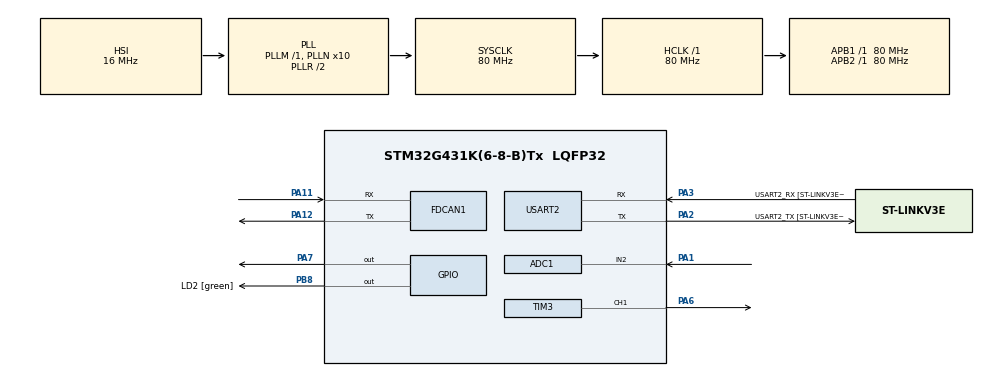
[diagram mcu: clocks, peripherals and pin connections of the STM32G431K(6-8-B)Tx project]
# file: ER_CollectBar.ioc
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ADC1.Channel-6\#ChannelRegularConversion=ADC_CHANNEL_2
ADC1.ContinuousConvMode=ENABLE
ADC1.DMAContinuousRequests=ENABLE
ADC1.NbrOfConversionFlag=1
ADC1.OffsetNumber-6\#ChannelRegularConversion=ADC_OFFSET_NONE
ADC1.Rank-6\#ChannelRegularConversion=1
ADC1.SamplingTime-6\#ChannelRegularConversion=ADC_SAMPLETIME_92CYCLES_5
ADC1.master=1
Dma.ADC1.0.Direction=DMA_PERIPH_TO_MEMORY
Dma.ADC1.0.EventEnable=DISABLE
Dma.ADC1.0.Instance=DMA1_Channel1
Dma.ADC1.0.MemDataAlignment=DMA_MDATAALIGN_HALFWORD
Dma.ADC1.0.MemInc=DMA_MINC_ENABLE
Dma.ADC1.0.Mode=DMA_CIRCULAR
Dma.ADC1.0.PeriphDataAlignment=DMA_PDATAALIGN_HALFWORD
Dma.ADC1.0.PeriphInc=DMA_PINC_DISABLE
Dma.ADC1.0.Polarity=HAL_DMAMUX_REQ_GEN_RISING
Dma.ADC1.0.Priority=DMA_PRIORITY_LOW
Dma.ADC1.0.RequestNumber=1
Dma.ADC1.0.SignalID=NONE
Dma.ADC1.0.SyncEnable=DISABLE
Dma.ADC1.0.SyncPolarity=HAL_DMAMUX_SYNC_NO_EVENT
Dma.ADC1.0.SyncRequestNumber=1
Dma.ADC1.0.SyncSignalID=NONE
Dma.Request0=ADC1
FDCAN1.CalculateBaudRateNominal=1000000
FDCAN1.CalculateTimeBitNominal=1000
FDCAN1.CalculateTimeQuantumNominal=62.5
FDCAN1.DataPrescaler=2
FDCAN1.DataSyncJumpWidth=2
FDCAN1.DataTimeSeg1=10
FDCAN1.DataTimeSeg2=9
FDCAN1.FrameFormat=FDCAN_FRAME_FD_BRS
FDCAN1.NominalPrescaler=5
FDCAN1.NominalSyncJumpWidth=2
FDCAN1.NominalTimeSeg1=13
FDCAN1.StdFiltersNbr=1
Mcu.Family=STM32G4
Mcu.Name=STM32G431K(6-8-B)Tx
Mcu.Package=LQFP32
NVIC.DMA1_Channel1_IRQn=true\:0\:0\:false\:false\:true\:false\:true\:true
NVIC.FDCAN1_IT0_IRQn=true\:0\:0\:false\:false\:true\:true\:true\:true
NVIC.PriorityGroup=NVIC_PRIORITYGROUP_4
NVIC.TIM1_TRG_COM_TIM17_IRQn=true\:15\:0\:false\:false\:true\:false\:true\:true
NVIC.TIM4_IRQn=true\:0\:0\:false\:false\:true\:true\:true\:true
NVIC.TimeBase=TIM1_TRG_COM_TIM17_IRQn
NVIC.TimeBaseIP=TIM17
NVIC.USART2_IRQn=true\:0\:0\:false\:false\:true\:true\:true\:true
PA1.Mode=IN2-Single-Ended
PA1.Signal=ADC1_IN2
PA11.Mode=FDCAN_Activate
PA11.Signal=FDCAN1_RX
PA12.Mode=FDCAN_Activate
PA12.Signal=FDCAN1_TX
PA13.GPIO_Label=T_SWDIO
PA13.Mode=Serial_Wire
PA13.Signal=SYS_JTMS-SWDIO
PA14.GPIO_Label=T_SWCLK
PA14.Mode=Serial_Wire
PA14.Signal=SYS_JTCK-SWCLK
PA2.GPIO_Label=USART2_TX [ST-LINKV3E_VCP_RX]
PA2.Mode=Asynchronous
PA2.Signal=USART2_TX
PA3.GPIO_Label=USART2_RX [ST-LINKV3E_VCP_TX]
PA3.Mode=Asynchronous
PA3.Signal=USART2_RX
PA6.Signal=S_TIM3_CH1
PA7.Signal=GPIO_Output
PB3.GPIO_Label=T_SWO
PB3.Signal=SYS_JTDO-SWO
PB8-BOOT0.GPIO_Label=LD2 [green]
PB8-BOOT0.Signal=GPIO_Output
ProjectManager.HeapSize=0x200
ProjectManager.StackSize=0x400
ProjectManager.TargetToolchain=STM32CubeIDE
RCC.ADC12Freq_Value=80000000
RCC.AHBFreq_Value=80000000
RCC.APB1Freq_Value=80000000
RCC.APB1TimFreq_Value=80000000
RCC.APB2Freq_Value=80000000
RCC.APB2TimFreq_Value=80000000
RCC.CortexFreq_Value=80000000
RCC.EXTERNAL_CLOCK_VALUE=12288000
RCC.HCLKFreq_Value=80000000
RCC.HSE_VALUE=8000000
RCC.HSI48_VALUE=48000000
RCC.HSI_VALUE=16000000
RCC.LSE_VALUE=32768
RCC.PLLN=10
RCC.SYSCLKFreq_VALUE=80000000
RCC.SYSCLKSource=RCC_SYSCLKSOURCE_PLLCLK
RCC.USBFreq_Value=80000000
RCC.VCOOutputFreq_Value=160000000
SH.S_TIM3_CH1.0=TIM3_CH1,PWM Generation1 CH1
TIM3.Channel-PWM\ Generation1\ CH1=TIM_CHANNEL_1
TIM3.PeriodNoDither=1000-1
TIM3.Prescaler=40-1
TIM4.PeriodNoDither=1000-1
TIM4.Prescaler=80-1
USART2.VirtualMode-Asynchronous=VM_ASYNC
USART2.WordLength=WORDLENGTH_8B
VP_SYS_VS_DBSignals.Mode=DisableDeadBatterySignals
VP_SYS_VS_tim17.Mode=TIM17
VP_TIM3_VS_ClockSourceINT.Mode=Internal
VP_TIM4_VS_ClockSourceINT.Mode=Internal
board=NUCLEO-G431KB

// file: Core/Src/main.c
/* USER CODE BEGIN Header */
/**
  ******************************************************************************
  * @file           : main.c
  * @brief          : Main program body
  ******************************************************************************
  * @attention
  *
  * <h2><center>&copy; Copyright (c) 2023 STMicroelectronics.
  * All rights reserved.</center></h2>
  *
  * This software component is licensed by ST under BSD 3-Clause license,
  * the "License"; You may not use this file except in compliance with the
  * License. You may obtain a copy of the License at:
  *                        opensource.org/licenses/BSD-3-Clause
  *
  ******************************************************************************
  */
/* USER CODE END Header */
#include "main.h"

/* USER CODE BEGIN Includes */
#include "stdio.h"
#include "stdlib.h"
/* USER CODE END Includes */

/* USER CODE BEGIN PTD */
typedef enum {
    OPEN = 0x0U,
    CLOSE
} BarState;
/* USER CODE END PTD */

/* USER CODE BEGIN PD */

#define FILTER_C 0.95f

#define ADC_CLOSE 1700.0f
#define ADC_OPEN 700.0f

#define DUTY 300

//ADC:PA1
//IN:PA6
//IN_:PA7

/* USER CODE END PD */

ADC_HandleTypeDef hadc1;
DMA_HandleTypeDef hdma_adc1;

FDCAN_HandleTypeDef hfdcan1;

TIM_HandleTypeDef htim3;
TIM_HandleTypeDef htim4;

UART_HandleTypeDef huart2;

/* USER CODE BEGIN PV */
volatile uint16_t g_ADCBuffer[1];
volatile float ADCval = 0.0f;

BarState state = OPEN;

#define UART_LEN 1
uint8_t UART_BUFF[UART_LEN];

int flag = 0;

FDCAN_TxHeaderTypeDef TxHeader;
FDCAN_RxHeaderTypeDef RxHeader;
FDCAN_FilterTypeDef sFilterConfig;

uint8_t TxData[1];
uint8_t RxData[1];
uint32_t TxMailbox;
/* USER CODE END PV */

void SystemClock_Config(void);
static void MX_GPIO_Init(void);
static void MX_DMA_Init(void);
static void MX_TIM4_Init(void);
static void MX_TIM3_Init(void);
static void MX_USART2_UART_Init(void);
static void MX_ADC1_Init(void);
static void MX_FDCAN1_Init(void);

int main(void)
{
  /* USER CODE BEGIN 1 */
  setbuf(stdout, NULL);
  /* USER CODE END 1 */

  /* MCU Configuration--------------------------------------------------------*/

  /* Reset of all peripherals, Initializes the Flash interface and the Systick. */
  HAL_Init();

  /* Configure the system clock */
  SystemClock_Config();

  /* Initialize all configured peripherals */
  MX_GPIO_Init();
  MX_DMA_Init();
  MX_TIM4_Init();
  MX_TIM3_Init();
  MX_USART2_UART_Init();
  MX_ADC1_Init();
  MX_FDCAN1_Init();
  /* USER CODE BEGIN 2 */
    TxHeader.Identifier = 0x517;
    TxHeader.IdType = FDCAN_STANDARD_ID;
    TxHeader.TxFrameType = FDCAN_DATA_FRAME;
    TxHeader.DataLength = FDCAN_DLC_BYTES_1;
    TxHeader.ErrorStateIndicator = FDCAN_ESI_ACTIVE;
    TxHeader.BitRateSwitch = FDCAN_BRS_ON;
    TxHeader.FDFormat = FDCAN_FD_CAN;
    TxHeader.TxEventFifoControl = FDCAN_NO_TX_EVENTS;
    TxHeader.MessageMarker = 0;

    FDCAN_FilterTypeDef sFilterConfig;
    sFilterConfig.IdType = FDCAN_STANDARD_ID;
    sFilterConfig.FilterIndex = 0;
    sFilterConfig.FilterType = FDCAN_FILTER_DUAL;
    sFilterConfig.FilterConfig = FDCAN_FILTER_TO_RXFIFO0;
    sFilterConfig.FilterID1 = 0x051;
    sFilterConfig.FilterID2 = 0x321;

    if (HAL_FDCAN_ConfigFilter(&hfdcan1, &sFilterConfig) != HAL_OK) {
        Error_Handler();
    }
    if (HAL_FDCAN_ConfigGlobalFilter(&hfdcan1, FDCAN_REJECT, FDCAN_REJECT, FDCAN_FILTER_REMOTE, FDCAN_FILTER_REMOTE) !=
        HAL_OK) {
        Error_Handler();
    }

    /* Start the FDCAN module */
    if (HAL_FDCAN_Start(&hfdcan1) != HAL_OK) {
        Error_Handler();
    }
    if (HAL_FDCAN_ActivateNotification(&hfdcan1, FDCAN_IT_RX_FIFO0_NEW_MESSAGE, 0) != HAL_OK){
        Error_Handler();
    }
  /* USER CODE END 2 */

  /* Infinite loop */
  /* USER CODE BEGIN WHILE */
  HAL_ADCEx_Calibration_Start(&hadc1, ADC_SINGLE_ENDED);
  HAL_ADC_Start_DMA(&hadc1, (uint32_t *) g_ADCBuffer, 1);
  HAL_TIM_PWM_Start(&htim3, TIM_CHANNEL_1); // DC motor 2kHz
  HAL_TIM_Base_Start_IT(&htim4);
  __HAL_TIM_SET_COMPARE(&htim3, TIM_CHANNEL_1, 0);
  HAL_UART_Receive_IT(&huart2, UART_BUFF, UART_LEN);
  HAL_GPIO_WritePin(LD2_GPIO_Port, LD2_Pin, GPIO_PIN_SET);
  while (1) {
    /* USER CODE END WHILE */
    if(flag){
        HAL_Delay(100);
        state = CLOSE;
    }
  }
}

void SystemClock_Config(void)
{
  RCC_OscInitTypeDef RCC_OscInitStruct = {0};
  RCC_ClkInitTypeDef RCC_ClkInitStruct = {0};

  /** Configure the main internal regulator output voltage
  */
  HAL_PWREx_ControlVoltageScaling(PWR_REGULATOR_VOLTAGE_SCALE1);

  /** Initializes the RCC Oscillators according to the specified parameters
  * in the RCC_OscInitTypeDef structure.
  */
  RCC_OscInitStruct.OscillatorType = RCC_OSCILLATORTYPE_HSI;
  RCC_OscInitStruct.HSIState = RCC_HSI_ON;
  RCC_OscInitStruct.HSICalibrationValue = RCC_HSICALIBRATION_DEFAULT;
  RCC_OscInitStruct.PLL.PLLState = RCC_PLL_ON;
  RCC_OscInitStruct.PLL.PLLSource = RCC_PLLSOURCE_HSI;
  RCC_OscInitStruct.PLL.PLLM = RCC_PLLM_DIV1;
  RCC_OscInitStruct.PLL.PLLN = 10;
  RCC_OscInitStruct.PLL.PLLP = RCC_PLLP_DIV2;
  RCC_OscInitStruct.PLL.PLLQ = RCC_PLLQ_DIV2;
  RCC_OscInitStruct.PLL.PLLR = RCC_PLLR_DIV2;
  if (HAL_RCC_OscConfig(&RCC_OscInitStruct) != HAL_OK)
  {
    Error_Handler();
  }

  /** Initializes the CPU, AHB and APB buses clocks
  */
  RCC_ClkInitStruct.ClockType = RCC_CLOCKTYPE_HCLK|RCC_CLOCKTYPE_SYSCLK
                              |RCC_CLOCKTYPE_PCLK1|RCC_CLOCKTYPE_PCLK2;
  RCC_ClkInitStruct.SYSCLKSource = RCC_SYSCLKSOURCE_PLLCLK;
  RCC_ClkInitStruct.AHBCLKDivider = RCC_SYSCLK_DIV1;
  RCC_ClkInitStruct.APB1CLKDivider = RCC_HCLK_DIV1;
  RCC_ClkInitStruct.APB2CLKDivider = RCC_HCLK_DIV1;

  if (HAL_RCC_ClockConfig(&RCC_ClkInitStruct, FLASH_LATENCY_2) != HAL_OK)
  {
    Error_Handler();
  }
}

static void MX_ADC1_Init(void)
{

  ADC_MultiModeTypeDef multimode = {0};
  ADC_ChannelConfTypeDef sConfig = {0};

  /** Common config
  */
  hadc1.Instance = ADC1;
  hadc1.Init.ClockPrescaler = ADC_CLOCK_SYNC_PCLK_DIV2;
  hadc1.Init.Resolution = ADC_RESOLUTION_12B;
  hadc1.Init.DataAlign = ADC_DATAALIGN_RIGHT;
  hadc1.Init.GainCompensation = 0;
  hadc1.Init.ScanConvMode = ADC_SCAN_DISABLE;
  hadc1.Init.EOCSelection = ADC_EOC_SINGLE_CONV;
  hadc1.Init.LowPowerAutoWait = DISABLE;
  hadc1.Init.ContinuousConvMode = ENABLE;
  hadc1.Init.NbrOfConversion = 1;
  hadc1.Init.DiscontinuousConvMode = DISABLE;
  hadc1.Init.ExternalTrigConv = ADC_SOFTWARE_START;
  hadc1.Init.ExternalTrigConvEdge = ADC_EXTERNALTRIGCONVEDGE_NONE;
  hadc1.Init.DMAContinuousRequests = ENABLE;
  hadc1.Init.Overrun = ADC_OVR_DATA_PRESERVED;
  hadc1.Init.OversamplingMode = DISABLE;
  if (HAL_ADC_Init(&hadc1) != HAL_OK)
  {
    Error_Handler();
  }

  /** Configure the ADC multi-mode
  */
  multimode.Mode = ADC_MODE_INDEPENDENT;
  if (HAL_ADCEx_MultiModeConfigChannel(&hadc1, &multimode) != HAL_OK)
  {
    Error_Handler();
  }

  /** Configure Regular Channel
  */
  sConfig.Channel = ADC_CHANNEL_2;
  sConfig.Rank = ADC_REGULAR_RANK_1;
  sConfig.SamplingTime = ADC_SAMPLETIME_92CYCLES_5;
  sConfig.SingleDiff = ADC_SINGLE_ENDED;
  sConfig.OffsetNumber = ADC_OFFSET_NONE;
  sConfig.Offset = 0;
  if (HAL_ADC_ConfigChannel(&hadc1, &sConfig) != HAL_OK)
  {
    Error_Handler();
  }

}

static void MX_FDCAN1_Init(void)
{

  hfdcan1.Instance = FDCAN1;
  hfdcan1.Init.ClockDivider = FDCAN_CLOCK_DIV1;
  hfdcan1.Init.FrameFormat = FDCAN_FRAME_FD_BRS;
  hfdcan1.Init.Mode = FDCAN_MODE_NORMAL;
  hfdcan1.Init.AutoRetransmission = DISABLE;
  hfdcan1.Init.TransmitPause = DISABLE;
  hfdcan1.Init.ProtocolException = DISABLE;
  hfdcan1.Init.NominalPrescaler = 5;
  hfdcan1.Init.NominalSyncJumpWidth = 2;
  hfdcan1.Init.NominalTimeSeg1 = 13;
  hfdcan1.Init.NominalTimeSeg2 = 2;
  hfdcan1.Init.DataPrescaler = 2;
  hfdcan1.Init.DataSyncJumpWidth = 2;
  hfdcan1.Init.DataTimeSeg1 = 10;
  hfdcan1.Init.DataTimeSeg2 = 9;
  hfdcan1.Init.StdFiltersNbr = 1;
  hfdcan1.Init.ExtFiltersNbr = 0;
  hfdcan1.Init.TxFifoQueueMode = FDCAN_TX_FIFO_OPERATION;
  if (HAL_FDCAN_Init(&hfdcan1) != HAL_OK)
  {
    Error_Handler();
  }

}

static void MX_TIM3_Init(void)
{

  TIM_ClockConfigTypeDef sClockSourceConfig = {0};
  TIM_MasterConfigTypeDef sMasterConfig = {0};
  TIM_OC_InitTypeDef sConfigOC = {0};

  htim3.Instance = TIM3;
  htim3.Init.Prescaler = 40-1;
  htim3.Init.CounterMode = TIM_COUNTERMODE_UP;
  htim3.Init.Period = 999;
  htim3.Init.ClockDivision = TIM_CLOCKDIVISION_DIV1;
  htim3.Init.AutoReloadPreload = TIM_AUTORELOAD_PRELOAD_DISABLE;
  if (HAL_TIM_Base_Init(&htim3) != HAL_OK)
  {
    Error_Handler();
  }
  sClockSourceConfig.ClockSource = TIM_CLOCKSOURCE_INTERNAL;
  if (HAL_TIM_ConfigClockSource(&htim3, &sClockSourceConfig) != HAL_OK)
  {
    Error_Handler();
  }
  if (HAL_TIM_PWM_Init(&htim3) != HAL_OK)
  {
    Error_Handler();
  }
  sMasterConfig.MasterOutputTrigger = TIM_TRGO_RESET;
  sMasterConfig.MasterSlaveMode = TIM_MASTERSLAVEMODE_DISABLE;
  if (HAL_TIMEx_MasterConfigSynchronization(&htim3, &sMasterConfig) != HAL_OK)
  {
    Error_Handler();
  }
  sConfigOC.OCMode = TIM_OCMODE_PWM1;
  sConfigOC.Pulse = 0;
  sConfigOC.OCPolarity = TIM_OCPOLARITY_HIGH;
  sConfigOC.OCFastMode = TIM_OCFAST_DISABLE;
  if (HAL_TIM_PWM_ConfigChannel(&htim3, &sConfigOC, TIM_CHANNEL_1) != HAL_OK)
  {
    Error_Handler();
  }
  HAL_TIM_MspPostInit(&htim3);

}

static void MX_TIM4_Init(void)
{

  TIM_ClockConfigTypeDef sClockSourceConfig = {0};
  TIM_MasterConfigTypeDef sMasterConfig = {0};

  htim4.Instance = TIM4;
  htim4.Init.Prescaler = 80-1;
  htim4.Init.CounterMode = TIM_COUNTERMODE_UP;
  htim4.Init.Period = 999;
  htim4.Init.ClockDivision = TIM_CLOCKDIVISION_DIV1;
  htim4.Init.AutoReloadPreload = TIM_AUTORELOAD_PRELOAD_DISABLE;
  if (HAL_TIM_Base_Init(&htim4) != HAL_OK)
  {
    Error_Handler();
  }
  sClockSourceConfig.ClockSource = TIM_CLOCKSOURCE_INTERNAL;
  if (HAL_TIM_ConfigClockSource(&htim4, &sClockSourceConfig) != HAL_OK)
  {
    Error_Handler();
  }
  sMasterConfig.MasterOutputTrigger = TIM_TRGO_RESET;
  sMasterConfig.MasterSlaveMode = TIM_MASTERSLAVEMODE_DISABLE;
  if (HAL_TIMEx_MasterConfigSynchronization(&htim4, &sMasterConfig) != HAL_OK)
  {
    Error_Handler();
  }

}

static void MX_USART2_UART_Init(void)
{

  huart2.Instance = USART2;
  huart2.Init.BaudRate = 115200;
  huart2.Init.WordLength = UART_WORDLENGTH_8B;
  huart2.Init.StopBits = UART_STOPBITS_1;
  huart2.Init.Parity = UART_PARITY_NONE;
  huart2.Init.Mode = UART_MODE_TX_RX;
  huart2.Init.HwFlowCtl = UART_HWCONTROL_NONE;
  huart2.Init.OverSampling = UART_OVERSAMPLING_16;
  huart2.Init.OneBitSampling = UART_ONE_BIT_SAMPLE_DISABLE;
  huart2.Init.ClockPrescaler = UART_PRESCALER_DIV1;
  huart2.AdvancedInit.AdvFeatureInit = UART_ADVFEATURE_NO_INIT;
  if (HAL_UART_Init(&huart2) != HAL_OK)
  {
    Error_Handler();
  }
  if (HAL_UARTEx_SetTxFifoThreshold(&huart2, UART_TXFIFO_THRESHOLD_1_8) != HAL_OK)
  {
    Error_Handler();
  }
  if (HAL_UARTEx_SetRxFifoThreshold(&huart2, UART_RXFIFO_THRESHOLD_1_8) != HAL_OK)
  {
    Error_Handler();
  }
  if (HAL_UARTEx_DisableFifoMode(&huart2) != HAL_OK)
  {
    Error_Handler();
  }

}

static void MX_DMA_Init(void)
{

  /* DMA controller clock enable */
  __HAL_RCC_DMAMUX1_CLK_ENABLE();
  __HAL_RCC_DMA1_CLK_ENABLE();

  /* DMA interrupt init */
  /* DMA1_Channel1_IRQn interrupt configuration */
  HAL_NVIC_SetPriority(DMA1_Channel1_IRQn, 0, 0);
  HAL_NVIC_EnableIRQ(DMA1_Channel1_IRQn);

}

static void MX_GPIO_Init(void)
{
  GPIO_InitTypeDef GPIO_InitStruct = {0};

  /* GPIO Ports Clock Enable */
  __HAL_RCC_GPIOA_CLK_ENABLE();
  __HAL_RCC_GPIOB_CLK_ENABLE();

  /*Configure GPIO pin Output Level */
  HAL_GPIO_WritePin(GPIOA, GPIO_PIN_7, GPIO_PIN_RESET);

  /*Configure GPIO pin Output Level */
  HAL_GPIO_WritePin(LD2_GPIO_Port, LD2_Pin, GPIO_PIN_RESET);

  /*Configure GPIO pin : PA7 */
  GPIO_InitStruct.Pin = GPIO_PIN_7;
  GPIO_InitStruct.Mode = GPIO_MODE_OUTPUT_PP;
  GPIO_InitStruct.Pull = GPIO_NOPULL;
  GPIO_InitStruct.Speed = GPIO_SPEED_FREQ_LOW;
  HAL_GPIO_Init(GPIOA, &GPIO_InitStruct);

  /*Configure GPIO pin : LD2_Pin */
  GPIO_InitStruct.Pin = LD2_Pin;
  GPIO_InitStruct.Mode = GPIO_MODE_OUTPUT_PP;
  GPIO_InitStruct.Pull = GPIO_NOPULL;
  GPIO_InitStruct.Speed = GPIO_SPEED_FREQ_LOW;
  HAL_GPIO_Init(LD2_GPIO_Port, &GPIO_InitStruct);

}

/* USER CODE BEGIN 4 */
int _write(int file, char *ptr, int len) {
  HAL_UART_Transmit(&huart2, (uint8_t *)ptr, len, 10);
  return len;
}

void HAL_UART_RxCpltCallback(UART_HandleTypeDef *huart) {
  if (huart -> Instance == USART2) {
    HAL_UART_Receive_IT(&huart2, UART_BUFF, UART_LEN);
    int val = atoi(UART_BUFF);
    printf("%d\r\n", val);

    if (val == 1) {
      state = CLOSE;
      printf("close\r\n");
    } else {
      state = OPEN;
      printf("open\r\n");
    }
  }
}

void HAL_FDCAN_RxFifo0Callback(FDCAN_HandleTypeDef *hfdcan1, uint32_t RxFifo0ITs) {
    if ((RxFifo0ITs & FDCAN_IT_RX_FIFO0_NEW_MESSAGE) != RESET) {
        /* Retrieve Rx messages from RX FIFO0 */
        if (HAL_FDCAN_GetRxMessage(hfdcan1, FDCAN_RX_FIFO0, &RxHeader, RxData) != HAL_OK) {
            Error_Handler();
        }

        if ((RxHeader.Identifier == 0x311)) {
            flag = 1;
        }
        if ((RxHeader.Identifier == 0x051)) {
            // 初期化処理
            flag = 0;
        }
    }
}
/* USER CODE END 4 */

void HAL_TIM_PeriodElapsedCallback(TIM_HandleTypeDef *htim)
{
  if (htim->Instance == TIM17) {
    HAL_IncTick();
  }
  /* USER CODE BEGIN Callback 1 */
 if (htim->Instance == TIM4) {
   ADCval = FILTER_C * ADCval + (1.0f - FILTER_C) * (float)(g_ADCBuffer[0]);

   switch (state) {
     case OPEN:
       if (ADC_OPEN  < ADCval) {
         HAL_GPIO_WritePin(GPIOA, GPIO_PIN_7, GPIO_PIN_RESET);
         HAL_TIM_PWM_Start(&htim3, TIM_CHANNEL_1);
         __HAL_TIM_SET_COMPARE(&htim3, TIM_CHANNEL_1, DUTY);
       } else {
         HAL_TIM_PWM_Stop(&htim3, TIM_CHANNEL_1);
       }
       break;

     case CLOSE:
       if (ADC_CLOSE > ADCval) {
         HAL_GPIO_WritePin(GPIOA, GPIO_PIN_7, GPIO_PIN_SET);
         HAL_TIM_PWM_Start(&htim3, TIM_CHANNEL_1);
         __HAL_TIM_SET_COMPARE(&htim3, TIM_CHANNEL_1, DUTY);
       } else {
         HAL_TIM_PWM_Stop(&htim3, TIM_CHANNEL_1);
       }
       break;
   }
 }
  /* USER CODE END Callback 1 */
}

void Error_Handler(void)
{
  __disable_irq();
  while (1)
  {
  }
}
